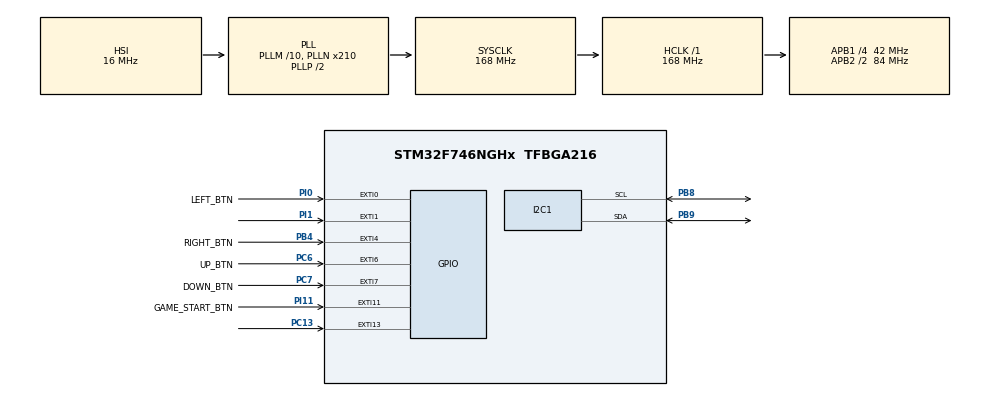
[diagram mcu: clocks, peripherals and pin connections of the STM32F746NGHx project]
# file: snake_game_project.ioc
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FREERTOS.Mutexes01=displayMutex,Dynamic,NULL
FREERTOS.Tasks01=defaultTask,0,128,StartDefaultTask,Default,NULL,Dynamic,NULL,NULL;ControlLEDM,1,256,StartControlLEDM,Default,NULL,Dynamic,NULL,NULL;MoveDot,0,256,StartMoveDot,Default,NULL,Dynamic,NULL,NULL
I2C1.Timing=0x00A0A3F7
Mcu.Family=STM32F7
Mcu.Name=STM32F746NGHx
Mcu.Package=TFBGA216
NVIC.EXTI0_IRQn=true\:5\:0\:false\:false\:true\:true\:true\:true
NVIC.EXTI15_10_IRQn=true\:5\:0\:false\:false\:true\:true\:true\:true
NVIC.EXTI1_IRQn=true\:5\:0\:false\:false\:true\:true\:true\:true
NVIC.EXTI4_IRQn=true\:5\:0\:false\:false\:true\:true\:true\:true
NVIC.EXTI9_5_IRQn=true\:5\:0\:false\:false\:true\:true\:true\:true
NVIC.PriorityGroup=NVIC_PRIORITYGROUP_4
NVIC.TIM8_TRG_COM_TIM14_IRQn=true\:0\:0\:false\:false\:true\:false\:false\:true
NVIC.TimeBase=TIM8_TRG_COM_TIM14_IRQn
NVIC.TimeBaseIP=TIM14
PA13.Mode=Serial_Wire
PA13.Signal=SYS_JTMS-SWDIO
PA14.Mode=Serial_Wire
PA14.Signal=SYS_JTCK-SWCLK
PB4.GPIO_Label=RIGHT_BTN
PB4.Signal=GPXTI4
PB8.Mode=I2C
PB8.Signal=I2C1_SCL
PB9.Mode=I2C
PB9.Signal=I2C1_SDA
PC13.Signal=GPXTI13
PC14/OSC32_IN.Mode=LSE-External-Oscillator
PC14/OSC32_IN.Signal=RCC_OSC32_IN
PC15/OSC32_OUT.Mode=LSE-External-Oscillator
PC15/OSC32_OUT.Signal=RCC_OSC32_OUT
PC6.GPIO_Label=UP_BTN
PC6.Signal=GPXTI6
PC7.GPIO_Label=DOWN_BTN
PC7.Signal=GPXTI7
PH0/OSC_IN.Mode=HSE-External-Clock-Source
PH0/OSC_IN.Signal=RCC_OSC_IN
PH1/OSC_OUT.Mode=HSE-External-Clock-Source
PH1/OSC_OUT.Signal=RCC_OSC_OUT
PI0.GPIO_Label=LEFT_BTN
PI0.Signal=GPXTI0
PI1.Signal=GPXTI1
PI11.GPIO_Label=GAME_START_BTN
PI11.Signal=GPXTI11
ProjectManager.HeapSize=0x200
ProjectManager.StackSize=0x400
ProjectManager.TargetToolchain=STM32CubeIDE
RCC.AHBFreq_Value=168000000
RCC.APB1CLKDivider=RCC_HCLK_DIV4
RCC.APB1Freq_Value=42000000
RCC.APB1TimFreq_Value=84000000
RCC.APB2CLKDivider=RCC_HCLK_DIV2
RCC.APB2Freq_Value=84000000
RCC.APB2TimFreq_Value=168000000
RCC.CortexFreq_Value=168000000
RCC.HCLKFreq_Value=168000000
RCC.HSE_VALUE=25000000
RCC.HSI_VALUE=16000000
RCC.PLLM=10
RCC.PLLN=210
RCC.PLLSourceVirtual=RCC_PLLSOURCE_HSI
RCC.SYSCLKFreq_VALUE=168000000
RCC.SYSCLKSource=RCC_SYSCLKSOURCE_PLLCLK
RCC.USBFreq_Value=168000000
RCC.VCOOutputFreq_Value=336000000
VP_FREERTOS_VS_CMSIS_V1.Mode=CMSIS_V1
VP_SYS_VS_tim14.Mode=TIM14
board=STM32F746G-DISCO

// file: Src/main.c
/* USER CODE BEGIN Header */
/**
  ******************************************************************************
  * @file           : main.c
  * @brief          : Main program body
  ******************************************************************************
  * @attention
  *
  * <h2><center>&copy; Copyright (c) 2019 STMicroelectronics.
  * All rights reserved.</center></h2>
  *
  * This software component is licensed by ST under BSD 3-Clause license,
  * the "License"; You may not use this file except in compliance with the
  * License. You may obtain a copy of the License at:
  *                        opensource.org/licenses/BSD-3-Clause
  *
  ******************************************************************************
  */
/* USER CODE END Header */

#include "main.h"
#include "cmsis_os.h"

/* USER CODE BEGIN PD */
//                7 bit address: 1110xxx
#define I2C_ADDRESS_LEDMATRIX (0b11100000)
#define bool int
/* USER CODE END PD */

I2C_HandleTypeDef hi2c1;

osThreadId defaultTaskHandle;
osThreadId ControlLEDMHandle;
osThreadId MoveDotHandle;
osMutexId displayMutexHandle;
/* USER CODE BEGIN PV */
uint8_t display_size = 8;
//uint8_t snake_display[] = {0x00, 0x00, 0x00, 0x00, 0x00, 0x00, 0x00, 0x00};
int snake_x_coordinate = 0;
int snake_y_coordinate = 0;

typedef enum game_state{
	INIT,
	START,
	GAME_OVER
}game_state_t;

game_state_t game_state = INIT;

typedef enum direction{
	DEFAULT,
	UP,
	DOWN,
	RIGHT,
	LEFT
}direction_t;

direction_t direction = UP;
//button debounce
int prev_start_time_down_btn = 0;
int prev_start_time_up_btn = 0;
int prev_start_time_right_btn = 0;
int prev_start_time_left_btn = 0;
int prev_start_time_game_start_btn = 0;
/* USER CODE END PV */

void SystemClock_Config(void);
static void MX_GPIO_Init(void);
static void MX_I2C1_Init(void);
void StartDefaultTask(void const * argument);
void StartControlLEDM(void const * argument);
void StartMoveDot(void const * argument);

/* USER CODE BEGIN PFP */
void clear_led_matrix();
void set_led_matrix(const uint8_t* data);
void set_snake_direction(direction_t direction);
void convert_snake_coordinates(uint8_t* array);
bool check_game_over(int x, int y);
/* USER CODE END PFP */

/* USER CODE BEGIN 0 */
void clear_led_matrix(){
  uint8_t buff[2];

  for(int i=0; i<16; i++)
  {
	  buff[0] = i;
	  buff[1] = 0x00;
	  HAL_I2C_Master_Transmit(&hi2c1, I2C_ADDRESS_LEDMATRIX, buff, 2, 100);
  }
}

void set_led_matrix(const uint8_t* data){
	clear_led_matrix();
	uint8_t buff[2];

	for(int i = 0; i < 8; i++)
	{
		  buff[0] = i * 2;
		  buff[1] = (data[i] >> 1) | (data[i] << 7);
		  HAL_I2C_Master_Transmit(&hi2c1, I2C_ADDRESS_LEDMATRIX, buff, 2, 100);
	}
}

void set_snake_direction(direction_t direction)
{
	switch(direction){
	/*case DEFAULT:
		if(snake_x_coordinate < display_size && snake_x_coordinate >= 0)
		snake_x_coordinate += 1;
		break;*/
	case UP:
		if(snake_y_coordinate < display_size)
		snake_y_coordinate += 1;
		break;
	case DOWN:
		if(snake_y_coordinate >= 0)
		snake_y_coordinate -= 1;
		break;
	case RIGHT:
		if(snake_x_coordinate < display_size)
		snake_x_coordinate += 1;
		break;
	case LEFT:
		if(snake_x_coordinate >= 0)
		snake_x_coordinate -= 1;
		break;
	default:
		break;
	}
}

void convert_snake_coordinates(uint8_t* array)
{
	array[snake_x_coordinate] |= 1 << snake_y_coordinate;
}

bool check_game_over(int x, int y)
{
	if((x == display_size || y == display_size||  x == -1 || y == -1) && game_state == START){
		return 1;
	}else{
		return 0;
	}
}

/* USER CODE END 0 */

int main(void)
{

  /* MCU Configuration--------------------------------------------------------*/

  /* Reset of all peripherals, Initializes the Flash interface and the Systick. */
  HAL_Init();

  /* Configure the system clock */
  SystemClock_Config();

  /* Initialize all configured peripherals */
  MX_GPIO_Init();
  MX_I2C1_Init();
  /* USER CODE BEGIN 2 */

  //init LED matrix
  uint8_t init1 = 0b00100001;
  uint8_t init2 = 0b10000001;

  HAL_I2C_Master_Transmit(&hi2c1, I2C_ADDRESS_LEDMATRIX, &init1, 1, 100);
  HAL_I2C_Master_Transmit(&hi2c1, I2C_ADDRESS_LEDMATRIX, &init2, 1, 100);

  //data matrix
  //const uint8_t data[] = { 0x30, 0x66, 0xc6, 0x80, 0x80, 0xc6, 0x66, 0x30 };
  //{ 0x60, 0x90, 0x1e, 0x05, 0x05, 0x1e, 0x90, 0x60 };

  /* USER CODE END 2 */

  /* Create the mutex(es) */
  /* definition and creation of displayMutex */
  osMutexDef(displayMutex);
  displayMutexHandle = osMutexCreate(osMutex(displayMutex));

  /* Create the thread(s) */
  /* definition and creation of defaultTask */
  osThreadDef(defaultTask, StartDefaultTask, osPriorityNormal, 0, 128);
  defaultTaskHandle = osThreadCreate(osThread(defaultTask), NULL);

  /* definition and creation of ControlLEDM */
  osThreadDef(ControlLEDM, StartControlLEDM, osPriorityAboveNormal, 0, 256);
  ControlLEDMHandle = osThreadCreate(osThread(ControlLEDM), NULL);

  /* definition and creation of MoveDot */
  osThreadDef(MoveDot, StartMoveDot, osPriorityNormal, 0, 256);
  MoveDotHandle = osThreadCreate(osThread(MoveDot), NULL);

  /* Start scheduler */
  osKernelStart();

  /* We should never get here as control is now taken by the scheduler */

  /* Infinite loop */
  while (1)
  {

  }
}

void SystemClock_Config(void)
{
  RCC_OscInitTypeDef RCC_OscInitStruct = {0};
  RCC_ClkInitTypeDef RCC_ClkInitStruct = {0};
  RCC_PeriphCLKInitTypeDef PeriphClkInitStruct = {0};

  /** Configure LSE Drive Capability
  */
  HAL_PWR_EnableBkUpAccess();
  /** Configure the main internal regulator output voltage
  */
  __HAL_RCC_PWR_CLK_ENABLE();
  __HAL_PWR_VOLTAGESCALING_CONFIG(PWR_REGULATOR_VOLTAGE_SCALE2);
  /** Initializes the CPU, AHB and APB busses clocks
  */
  RCC_OscInitStruct.OscillatorType = RCC_OSCILLATORTYPE_HSI;
  RCC_OscInitStruct.HSIState = RCC_HSI_ON;
  RCC_OscInitStruct.HSICalibrationValue = RCC_HSICALIBRATION_DEFAULT;
  RCC_OscInitStruct.PLL.PLLState = RCC_PLL_ON;
  RCC_OscInitStruct.PLL.PLLSource = RCC_PLLSOURCE_HSI;
  RCC_OscInitStruct.PLL.PLLM = 10;
  RCC_OscInitStruct.PLL.PLLN = 210;
  RCC_OscInitStruct.PLL.PLLP = RCC_PLLP_DIV2;
  RCC_OscInitStruct.PLL.PLLQ = 2;
  if (HAL_RCC_OscConfig(&RCC_OscInitStruct) != HAL_OK)
  {
    Error_Handler();
  }
  /** Initializes the CPU, AHB and APB busses clocks
  */
  RCC_ClkInitStruct.ClockType = RCC_CLOCKTYPE_HCLK|RCC_CLOCKTYPE_SYSCLK
                              |RCC_CLOCKTYPE_PCLK1|RCC_CLOCKTYPE_PCLK2;
  RCC_ClkInitStruct.SYSCLKSource = RCC_SYSCLKSOURCE_PLLCLK;
  RCC_ClkInitStruct.AHBCLKDivider = RCC_SYSCLK_DIV1;
  RCC_ClkInitStruct.APB1CLKDivider = RCC_HCLK_DIV4;
  RCC_ClkInitStruct.APB2CLKDivider = RCC_HCLK_DIV2;

  if (HAL_RCC_ClockConfig(&RCC_ClkInitStruct, FLASH_LATENCY_5) != HAL_OK)
  {
    Error_Handler();
  }
  PeriphClkInitStruct.PeriphClockSelection = RCC_PERIPHCLK_I2C1;
  PeriphClkInitStruct.I2c1ClockSelection = RCC_I2C1CLKSOURCE_PCLK1;
  if (HAL_RCCEx_PeriphCLKConfig(&PeriphClkInitStruct) != HAL_OK)
  {
    Error_Handler();
  }
}

static void MX_I2C1_Init(void)
{

  hi2c1.Instance = I2C1;
  hi2c1.Init.Timing = 0x00A0A3F7;
  hi2c1.Init.OwnAddress1 = 0;
  hi2c1.Init.AddressingMode = I2C_ADDRESSINGMODE_7BIT;
  hi2c1.Init.DualAddressMode = I2C_DUALADDRESS_DISABLE;
  hi2c1.Init.OwnAddress2 = 0;
  hi2c1.Init.OwnAddress2Masks = I2C_OA2_NOMASK;
  hi2c1.Init.GeneralCallMode = I2C_GENERALCALL_DISABLE;
  hi2c1.Init.NoStretchMode = I2C_NOSTRETCH_DISABLE;
  if (HAL_I2C_Init(&hi2c1) != HAL_OK)
  {
    Error_Handler();
  }
  /** Configure Analogue filter
  */
  if (HAL_I2CEx_ConfigAnalogFilter(&hi2c1, I2C_ANALOGFILTER_ENABLE) != HAL_OK)
  {
    Error_Handler();
  }
  /** Configure Digital filter
  */
  if (HAL_I2CEx_ConfigDigitalFilter(&hi2c1, 0) != HAL_OK)
  {
    Error_Handler();
  }

}

static void MX_GPIO_Init(void)
{
  GPIO_InitTypeDef GPIO_InitStruct = {0};

  /* GPIO Ports Clock Enable */
  __HAL_RCC_GPIOB_CLK_ENABLE();
  __HAL_RCC_GPIOA_CLK_ENABLE();
  __HAL_RCC_GPIOC_CLK_ENABLE();
  __HAL_RCC_GPIOI_CLK_ENABLE();
  __HAL_RCC_GPIOH_CLK_ENABLE();

  /*Configure GPIO pin : RIGHT_BTN_Pin */
  GPIO_InitStruct.Pin = RIGHT_BTN_Pin;
  GPIO_InitStruct.Mode = GPIO_MODE_IT_RISING;
  GPIO_InitStruct.Pull = GPIO_NOPULL;
  HAL_GPIO_Init(RIGHT_BTN_GPIO_Port, &GPIO_InitStruct);

  /*Configure GPIO pins : PC13 DOWN_BTN_Pin UP_BTN_Pin */
  GPIO_InitStruct.Pin = GPIO_PIN_13|DOWN_BTN_Pin|UP_BTN_Pin;
  GPIO_InitStruct.Mode = GPIO_MODE_IT_RISING;
  GPIO_InitStruct.Pull = GPIO_NOPULL;
  HAL_GPIO_Init(GPIOC, &GPIO_InitStruct);

  /*Configure GPIO pins : PI1 LEFT_BTN_Pin GAME_START_BTN_Pin */
  GPIO_InitStruct.Pin = GPIO_PIN_1|LEFT_BTN_Pin|GAME_START_BTN_Pin;
  GPIO_InitStruct.Mode = GPIO_MODE_IT_RISING;
  GPIO_InitStruct.Pull = GPIO_NOPULL;
  HAL_GPIO_Init(GPIOI, &GPIO_InitStruct);

  /* EXTI interrupt init*/
  HAL_NVIC_SetPriority(EXTI0_IRQn, 5, 0);
  HAL_NVIC_EnableIRQ(EXTI0_IRQn);

  HAL_NVIC_SetPriority(EXTI1_IRQn, 5, 0);
  HAL_NVIC_EnableIRQ(EXTI1_IRQn);

  HAL_NVIC_SetPriority(EXTI4_IRQn, 5, 0);
  HAL_NVIC_EnableIRQ(EXTI4_IRQn);

  HAL_NVIC_SetPriority(EXTI9_5_IRQn, 5, 0);
  HAL_NVIC_EnableIRQ(EXTI9_5_IRQn);

  HAL_NVIC_SetPriority(EXTI15_10_IRQn, 5, 0);
  HAL_NVIC_EnableIRQ(EXTI15_10_IRQn);

}

/* USER CODE BEGIN 4 */
HAL_GPIO_EXTI_Callback(uint16_t GPIO_Pin)
{
	if(GPIO_Pin == DOWN_BTN_Pin){
		    if (HAL_GetTick() - 300 < prev_start_time_down_btn) {
		      return;
		    }
		    prev_start_time_down_btn = HAL_GetTick();

		    direction = DOWN;
		}else if(GPIO_Pin == UP_BTN_Pin){
		    if (HAL_GetTick() - 300 < prev_start_time_up_btn) {
		      return;
		    }
		    prev_start_time_up_btn = HAL_GetTick();

		    direction = UP;
		}else if(GPIO_Pin == RIGHT_BTN_Pin){
		    if (HAL_GetTick() - 300 < prev_start_time_right_btn) {
		      return;
		    }
		    prev_start_time_up_btn = HAL_GetTick();

		    direction = RIGHT;
		}else if(GPIO_Pin == LEFT_BTN_Pin){
		    if (HAL_GetTick() - 300 < prev_start_time_left_btn) {
		      return;
		    }
		    prev_start_time_up_btn = HAL_GetTick();

		    direction = LEFT;
		}else if(GPIO_Pin == GAME_START_BTN_Pin){
		    if (HAL_GetTick() - 300 < prev_start_time_game_start_btn) {
		      return;
		    }
		    prev_start_time_game_start_btn = HAL_GetTick();

		    game_state = START;
		}
}
/* USER CODE END 4 */

void StartDefaultTask(void const * argument)
{

  for(;;)
  {
    osDelay(1);
  }
}

void StartControlLEDM(void const * argument)
{
  /* USER CODE BEGIN StartControlLEDM */
  /* Infinite loop */
  for(;;)
  {

	  if(game_state != GAME_OVER){
		  uint8_t snake_display[] = {0x00, 0x00, 0x00, 0x00, 0x00, 0x00, 0x00, 0x00};
		  convert_snake_coordinates(snake_display);
	  	  set_led_matrix(snake_display);
	  	  osDelay(500);
	  	  osThreadResume(MoveDotHandle);
	  	  osThreadSuspend(NULL);
	  }else if(game_state == GAME_OVER){
		  uint8_t game_over_display[] ={0x01, 0x62, 0x64, 0x04, 0x04, 0x64, 0x62, 0x01};
	  	  set_led_matrix(game_over_display);
	  	  osDelay(50);
	  	  osThreadResume(MoveDotHandle);
	  	  osThreadSuspend(NULL);
	  }

      }
  /* USER CODE END StartControlLEDM */
}

void StartMoveDot(void const * argument)
{
  /* USER CODE BEGIN StartMoveDot */
  /* Infinite loop */
  for(;;)
  {
	  if(game_state == INIT){
		  osThreadResume(ControlLEDMHandle);
		  osThreadSuspend(NULL);
	  }else if(game_state == START){
		  set_snake_direction(direction);
		  if(check_game_over(snake_x_coordinate, snake_y_coordinate)){
			  game_state = GAME_OVER;
		  }
		  osThreadResume(ControlLEDMHandle);
		  osThreadSuspend(NULL);
	  }else if(game_state == GAME_OVER){
		  snake_x_coordinate = 0;
		  snake_y_coordinate = 0;
		  direction = UP;
		  //set_snake_direction(direction);
		  osThreadResume(ControlLEDMHandle);
		  osThreadSuspend(NULL);
	  }

	  osDelay(10);
  }
  /* USER CODE END StartMoveDot */
}

void HAL_TIM_PeriodElapsedCallback(TIM_HandleTypeDef *htim)
{
  if (htim->Instance == TIM14) {
    HAL_IncTick();
  }
}

void Error_Handler(void)
{
}

/************************ (C) COPYRIGHT STMicroelectronics *****END OF FILE****/
